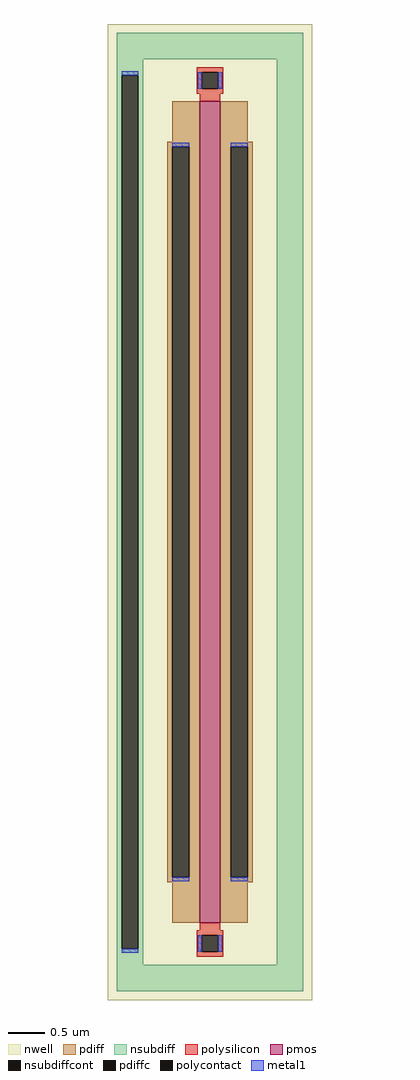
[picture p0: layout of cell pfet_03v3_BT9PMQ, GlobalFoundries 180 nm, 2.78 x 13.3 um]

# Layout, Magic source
magic
tech gf180mcuD
magscale 1 10
<< nwell >>
rect -278 -1330 278 1330
<< pmos >>
rect -28 -1120 28 1120
<< pdiff >>
rect -103 1009 -28 1120
rect -116 996 -28 1009
rect -116 -996 -103 996
rect -57 -996 -28 996
rect -116 -1009 -28 -996
rect -103 -1120 -28 -1009
rect 28 1009 103 1120
rect 28 996 116 1009
rect 28 -996 57 996
rect 103 -996 116 996
rect 28 -1009 116 -996
rect 28 -1120 103 -1009
<< pdiffc >>
rect -103 -996 -57 996
rect 57 -996 103 996
<< nsubdiff >>
rect -254 1234 254 1306
rect -254 1190 -182 1234
rect -254 -1190 -241 1190
rect -195 -1190 -182 1190
rect -254 -1234 -182 -1190
rect 182 -1234 254 1234
rect -254 -1306 254 -1234
<< nsubdiffcont >>
rect -241 -1190 -195 1190
<< polysilicon >>
rect -36 1199 36 1212
rect -36 1153 -23 1199
rect 23 1153 36 1199
rect -36 1140 36 1153
rect -28 1120 28 1140
rect -28 -1140 28 -1120
rect -36 -1153 36 -1140
rect -36 -1199 -23 -1153
rect 23 -1199 36 -1153
rect -36 -1212 36 -1199
<< polycontact >>
rect -23 1153 23 1199
rect -23 -1199 23 -1153
<< metal1 >>
rect -241 1190 -195 1201
rect -34 1153 -23 1199
rect 23 1153 34 1199
rect -103 996 -57 1007
rect -103 -1007 -57 -996
rect 57 996 103 1007
rect 57 -1007 103 -996
rect -241 -1201 -195 -1190
rect -34 -1199 -23 -1153
rect 23 -1199 34 -1153
<< properties >>
string FIXED_BBOX -218 -1270 218 1270
string gencell pfet_03v3
string library gf180mcu
string parameters w 11.2 l 0.280 m 1 nf 1 diffcov 90 polycov 100 guard 1 glc 1 grc 0 gtc 0 gbc 0 tbcov 100 rlcov 100 topc 1 botc 1 poverlap 0 doverlap 1 lmin 0.28 wmin 0.22 class mosfet full_metal 0 compatible {pfet_03v3 pfet_05v0 pfet_06v0}
<< end >>
